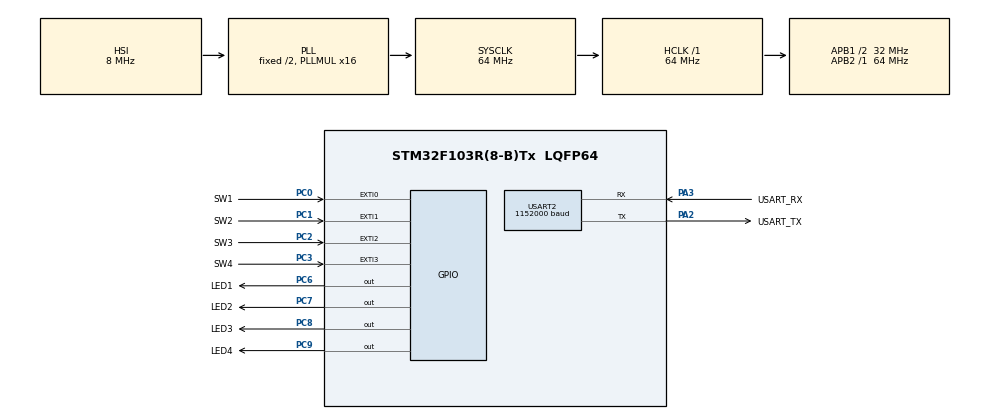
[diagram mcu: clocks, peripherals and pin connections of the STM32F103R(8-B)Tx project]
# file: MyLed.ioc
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Mcu.Family=STM32F1
Mcu.Name=STM32F103R(8-B)Tx
Mcu.Package=LQFP64
NVIC.EXTI0_IRQn=true\:0\:0\:false\:false\:true\:true\:true\:true
NVIC.EXTI1_IRQn=true\:0\:0\:false\:false\:true\:true\:true\:true
NVIC.EXTI2_IRQn=true\:0\:0\:false\:false\:true\:true\:true\:true
NVIC.EXTI3_IRQn=true\:0\:0\:false\:false\:true\:true\:true\:true
NVIC.PriorityGroup=NVIC_PRIORITYGROUP_4
PA13.GPIO_Label=TMS
PA13.Mode=Serial_Wire
PA13.Signal=SYS_JTMS-SWDIO
PA14.GPIO_Label=TCK
PA14.Mode=Serial_Wire
PA14.Signal=SYS_JTCK-SWCLK
PA2.GPIO_Label=USART_TX
PA2.GPIO_Mode=GPIO_MODE_AF_PP
PA2.GPIO_PuPd=GPIO_NOPULL
PA2.GPIO_Speed=GPIO_SPEED_FREQ_LOW
PA2.Mode=Asynchronous
PA2.Signal=USART2_TX
PA3.GPIO_Label=USART_RX
PA3.GPIO_Mode=GPIO_MODE_AF_PP
PA3.GPIO_PuPd=GPIO_NOPULL
PA3.GPIO_Speed=GPIO_SPEED_FREQ_LOW
PA3.Mode=Asynchronous
PA3.Signal=USART2_RX
PC0.GPIO_Label=SW1
PC0.GPIO_ModeDefaultEXTI=GPIO_MODE_IT_RISING_FALLING
PC0.Signal=GPXTI0
PC1.GPIO_Label=SW2
PC1.GPIO_ModeDefaultEXTI=GPIO_MODE_IT_RISING_FALLING
PC1.Signal=GPXTI1
PC14-OSC32_IN.Signal=RCC_OSC32_IN
PC15-OSC32_OUT.Signal=RCC_OSC32_OUT
PC2.GPIO_Label=SW3
PC2.GPIO_ModeDefaultEXTI=GPIO_MODE_IT_RISING_FALLING
PC2.Signal=GPXTI2
PC3.GPIO_Label=SW4
PC3.GPIO_ModeDefaultEXTI=GPIO_MODE_IT_RISING_FALLING
PC3.Signal=GPXTI3
PC6.GPIO_Label=LED1
PC6.Signal=GPIO_Output
PC7.GPIO_Label=LED2
PC7.Signal=GPIO_Output
PC8.GPIO_Label=LED3
PC8.Signal=GPIO_Output
PC9.GPIO_Label=LED4
PC9.Signal=GPIO_Output
PD0-OSC_IN.Signal=RCC_OSC_IN
PD1-OSC_OUT.Signal=RCC_OSC_OUT
ProjectManager.HeapSize=0x200
ProjectManager.StackSize=0x400
ProjectManager.TargetToolchain=STM32CubeIDE
RCC.AHBFreq_Value=64000000
RCC.APB1CLKDivider=RCC_HCLK_DIV2
RCC.APB1Freq_Value=32000000
RCC.APB1TimFreq_Value=64000000
RCC.APB2Freq_Value=64000000
RCC.APB2TimFreq_Value=64000000
RCC.HCLKFreq_Value=64000000
RCC.PLLMUL=RCC_PLL_MUL16
RCC.SYSCLKFreq_VALUE=64000000
RCC.SYSCLKSource=RCC_SYSCLKSOURCE_PLLCLK
RCC.USBFreq_Value=64000000
TIM1.Period=10000-1
TIM1.Prescaler=6400-1
USART2.BaudRate=1152000
USART2.VirtualMode=VM_ASYNC
VP_TIM1_VS_ClockSourceINT.Mode=Internal
board=NUCLEO-F103RB

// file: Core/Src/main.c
/* USER CODE BEGIN Header */
/**
  ******************************************************************************
  * @file           : main.c
  * @brief          : Main program body
  ******************************************************************************
  * @attention
  *
  * Copyright (c) 2022 STMicroelectronics.
  * All rights reserved.
  *
  * This software is licensed under terms that can be found in the LICENSE file
  * in the root directory of this software component.
  * If no LICENSE file comes with this software, it is provided AS-IS.
  *
  ******************************************************************************
  */
/* USER CODE END Header */
#include "main.h"

/* USER CODE BEGIN Includes */
#include <stdio.h>
/* USER CODE END Includes */

TIM_HandleTypeDef htim1;

UART_HandleTypeDef huart2;

void SystemClock_Config(void);
static void MX_GPIO_Init(void);
static void MX_TIM1_Init(void);
static void MX_USART2_UART_Init(void);

/* USER CODE BEGIN 0 */

// printf --> callback overriding
int __io_putchar(int ch)
{
	if(ch == '\n'){
		HAL_UART_Transmit(&huart2, (uint8_t *)"\r", 1, 0xFFFF);
	}
	HAL_UART_Transmit(&huart2, (uint8_t *)&ch, 1, 0xFFFF);

	return ch;
}

// EXTI_IRQ0_Handler -> callback overriding

uint32_t tick_cnt;
uint32_t tim1_cnt;

void HAL_GPIO_EXTI_Callback(uint16_t GPIO_Pin)
{
	switch(GPIO_Pin) {
	case SW1_Pin: //GPIO_PIN_0
		HAL_GPIO_TogglePin(GPIOC, LED1_Pin); //GPIO_PIN_6
		if(HAL_GPIO_ReadPin(GPIOC, GPIO_Pin)){ //Rising
			htim1.Instance->CNT = 0;
			HAL_TIM_Base_Start(&htim1);
			tick_cnt = HAL_GetTick();
		}
		else{ //Falling
			HAL_TIM_Base_Stop(&htim1);
			tim1_cnt = htim1.Instance->CNT;
			tick_cnt = HAL_GetTick() - tick_cnt;
			printf("%u, %u,", (unsigned int)tim1_cnt, (unsigned int)tick_cnt);
		}
		break;
	case SW2_Pin: //GPIO_PIN_1
		HAL_GPIO_TogglePin(GPIOC, LED2_Pin); //GPIO_PIN_7
		break;
	case SW3_Pin: //GPIO_PIN_2
		HAL_GPIO_TogglePin(GPIOC, LED3_Pin); //GPIO_PIN_8
		break;
	case SW4_Pin: //GPIO_PIN_3
		HAL_GPIO_TogglePin(GPIOC, LED4_Pin); //GPIO_PIN_9
		break;
	}
}
/* USER CODE END 0 */

int main(void)
{

  /* MCU Configuration--------------------------------------------------------*/

  /* Reset of all peripherals, Initializes the Flash interface and the Systick. */
  HAL_Init();

  /* Configure the system clock */
  SystemClock_Config();

  /* Initialize all configured peripherals */
  MX_GPIO_Init();
  MX_TIM1_Init();
  MX_USART2_UART_Init();

  /* Infinite loop */
  while (1)
  {

  }
}

void SystemClock_Config(void)
{
  RCC_OscInitTypeDef RCC_OscInitStruct = {0};
  RCC_ClkInitTypeDef RCC_ClkInitStruct = {0};

  /** Initializes the RCC Oscillators according to the specified parameters
  * in the RCC_OscInitTypeDef structure.
  */
  RCC_OscInitStruct.OscillatorType = RCC_OSCILLATORTYPE_HSI;
  RCC_OscInitStruct.HSIState = RCC_HSI_ON;
  RCC_OscInitStruct.HSICalibrationValue = RCC_HSICALIBRATION_DEFAULT;
  RCC_OscInitStruct.PLL.PLLState = RCC_PLL_ON;
  RCC_OscInitStruct.PLL.PLLSource = RCC_PLLSOURCE_HSI_DIV2;
  RCC_OscInitStruct.PLL.PLLMUL = RCC_PLL_MUL16;
  if (HAL_RCC_OscConfig(&RCC_OscInitStruct) != HAL_OK)
  {
    Error_Handler();
  }

  /** Initializes the CPU, AHB and APB buses clocks
  */
  RCC_ClkInitStruct.ClockType = RCC_CLOCKTYPE_HCLK|RCC_CLOCKTYPE_SYSCLK
                              |RCC_CLOCKTYPE_PCLK1|RCC_CLOCKTYPE_PCLK2;
  RCC_ClkInitStruct.SYSCLKSource = RCC_SYSCLKSOURCE_PLLCLK;
  RCC_ClkInitStruct.AHBCLKDivider = RCC_SYSCLK_DIV1;
  RCC_ClkInitStruct.APB1CLKDivider = RCC_HCLK_DIV2;
  RCC_ClkInitStruct.APB2CLKDivider = RCC_HCLK_DIV1;

  if (HAL_RCC_ClockConfig(&RCC_ClkInitStruct, FLASH_LATENCY_2) != HAL_OK)
  {
    Error_Handler();
  }
}

static void MX_TIM1_Init(void)
{

  TIM_ClockConfigTypeDef sClockSourceConfig = {0};
  TIM_MasterConfigTypeDef sMasterConfig = {0};

  htim1.Instance = TIM1;
  htim1.Init.Prescaler = 6400-1;
  htim1.Init.CounterMode = TIM_COUNTERMODE_UP;
  htim1.Init.Period = 10000-1;
  htim1.Init.ClockDivision = TIM_CLOCKDIVISION_DIV1;
  htim1.Init.RepetitionCounter = 0;
  htim1.Init.AutoReloadPreload = TIM_AUTORELOAD_PRELOAD_DISABLE;
  if (HAL_TIM_Base_Init(&htim1) != HAL_OK)
  {
    Error_Handler();
  }
  sClockSourceConfig.ClockSource = TIM_CLOCKSOURCE_INTERNAL;
  if (HAL_TIM_ConfigClockSource(&htim1, &sClockSourceConfig) != HAL_OK)
  {
    Error_Handler();
  }
  sMasterConfig.MasterOutputTrigger = TIM_TRGO_RESET;
  sMasterConfig.MasterSlaveMode = TIM_MASTERSLAVEMODE_DISABLE;
  if (HAL_TIMEx_MasterConfigSynchronization(&htim1, &sMasterConfig) != HAL_OK)
  {
    Error_Handler();
  }

}

static void MX_USART2_UART_Init(void)
{

  huart2.Instance = USART2;
  huart2.Init.BaudRate = 1152000;
  huart2.Init.WordLength = UART_WORDLENGTH_8B;
  huart2.Init.StopBits = UART_STOPBITS_1;
  huart2.Init.Parity = UART_PARITY_NONE;
  huart2.Init.Mode = UART_MODE_TX_RX;
  huart2.Init.HwFlowCtl = UART_HWCONTROL_NONE;
  huart2.Init.OverSampling = UART_OVERSAMPLING_16;
  if (HAL_UART_Init(&huart2) != HAL_OK)
  {
    Error_Handler();
  }

}

static void MX_GPIO_Init(void)
{
  GPIO_InitTypeDef GPIO_InitStruct = {0};

  /* GPIO Ports Clock Enable */
  __HAL_RCC_GPIOC_CLK_ENABLE();
  __HAL_RCC_GPIOD_CLK_ENABLE();
  __HAL_RCC_GPIOA_CLK_ENABLE();

  /*Configure GPIO pin Output Level */
  HAL_GPIO_WritePin(GPIOC, LED1_Pin|LED2_Pin|LED3_Pin|LED4_Pin, GPIO_PIN_RESET);

  /*Configure GPIO pins : SW1_Pin SW2_Pin SW3_Pin SW4_Pin */
  GPIO_InitStruct.Pin = SW1_Pin|SW2_Pin|SW3_Pin|SW4_Pin;
  GPIO_InitStruct.Mode = GPIO_MODE_IT_RISING_FALLING;
  GPIO_InitStruct.Pull = GPIO_NOPULL;
  HAL_GPIO_Init(GPIOC, &GPIO_InitStruct);

  /*Configure GPIO pins : LED1_Pin LED2_Pin LED3_Pin LED4_Pin */
  GPIO_InitStruct.Pin = LED1_Pin|LED2_Pin|LED3_Pin|LED4_Pin;
  GPIO_InitStruct.Mode = GPIO_MODE_OUTPUT_PP;
  GPIO_InitStruct.Pull = GPIO_NOPULL;
  GPIO_InitStruct.Speed = GPIO_SPEED_FREQ_LOW;
  HAL_GPIO_Init(GPIOC, &GPIO_InitStruct);

  /* EXTI interrupt init*/
  HAL_NVIC_SetPriority(EXTI0_IRQn, 0, 0);
  HAL_NVIC_EnableIRQ(EXTI0_IRQn);

  HAL_NVIC_SetPriority(EXTI1_IRQn, 0, 0);
  HAL_NVIC_EnableIRQ(EXTI1_IRQn);

  HAL_NVIC_SetPriority(EXTI2_IRQn, 0, 0);
  HAL_NVIC_EnableIRQ(EXTI2_IRQn);

  HAL_NVIC_SetPriority(EXTI3_IRQn, 0, 0);
  HAL_NVIC_EnableIRQ(EXTI3_IRQn);

}

void Error_Handler(void)
{
  __disable_irq();
  while (1)
  {
  }
}
